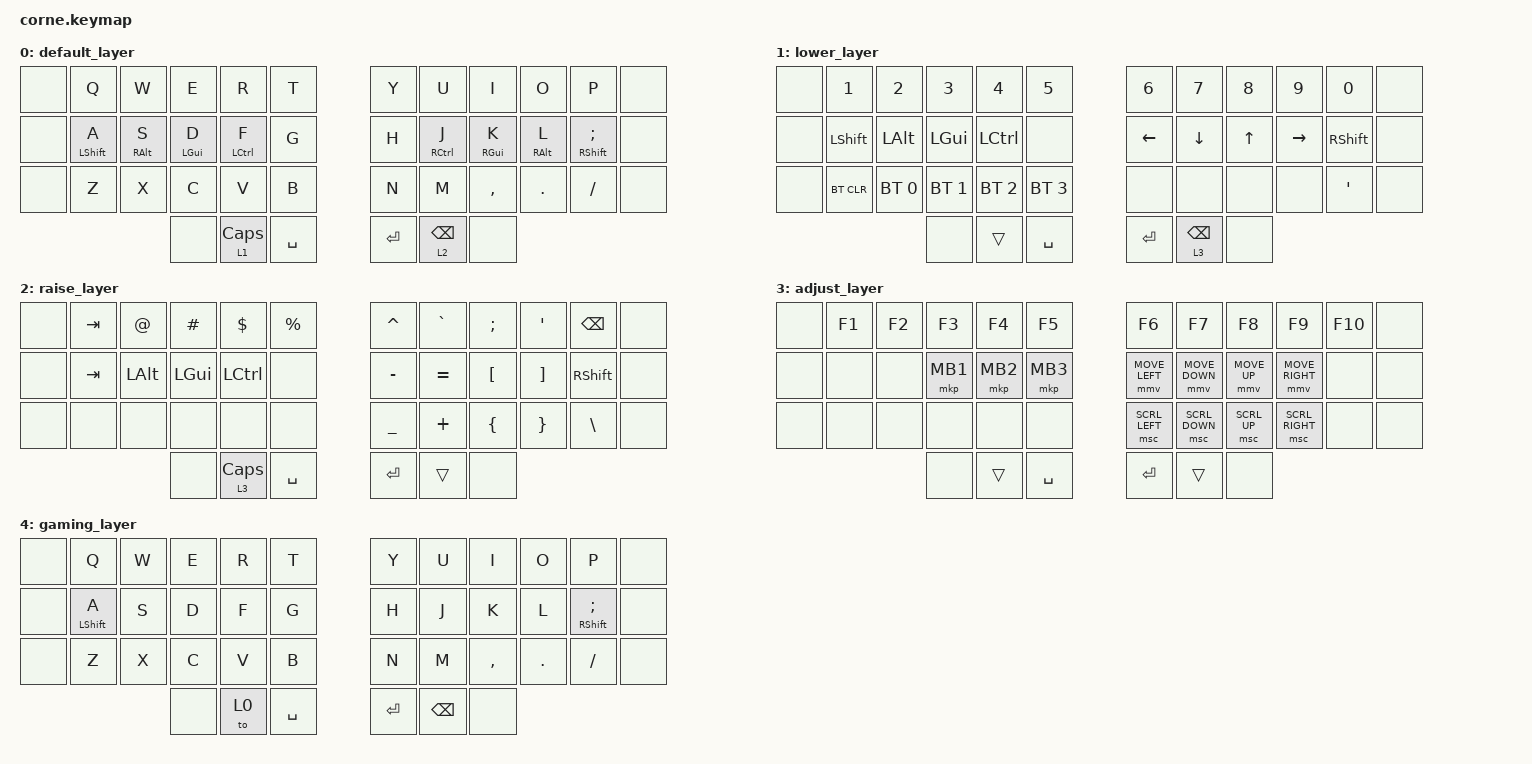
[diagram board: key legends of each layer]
/*
 * Copyright (c) 2020 The ZMK Contributors
 *
 * SPDX-License-Identifier: MIT
 */

#include <behaviors.dtsi>
#include <dt-bindings/zmk/keys.h>
#include <dt-bindings/zmk/bt.h>

#define ZMK_POINTING_DEFAULT_MOVE_VAL 1000  // default: 600
#define ZMK_POINTING_DEFAULT_SCRL_VAL 20    // default: 10
#include <dt-bindings/zmk/pointing.h>

/ {
    behaviors {
        hm: homerow_mods {
            compatible = "zmk,behavior-hold-tap";
            #binding-cells = <2>;
            tapping-term-ms = <200>;
            quick-tap-ms = <175>;
            require-prior-idle-ms = <1>;
            retro-tap;
            flavor = "balanced";
            bindings = <&kp>, <&kp>;
        };
        custom_lt: layer_tap {
            compatible = "zmk,behavior-hold-tap";
            #binding-cells = <2>;
            tapping-term-ms = <200>;
            quick-tap-ms = <175>;
            require-prior-idle-ms = <1>;
            retro-tap;
            flavor = "balanced";
            bindings = <&mo>, <&kp>;
        };
    };

    combos {
        compatible = "zmk,combos";
        combo_gaming {
            timeout-ms = <50>;
            key-positions = <1 5 6 10>;    // Q, T, Y, P keys
            bindings = <&to 4>;
        };
    };

        keymap {
                compatible = "zmk,keymap";

                default_layer {
// -----------------------------------------------------------------------------------------
// |     |  Q  |  W  |  E  |  R  |  T  |   |  Y  |  U   |  I  |  O  |  P  |     |
// |     |  A  |  S  |  D  |  F  |  G  |   |  H  |  J   |  K  |  L  |  ;  |     |
// |     |  Z  |  X  |  C  |  V  |  B  |   |  N  |  M   |  ,  |  .  |  /  |     |
//                   | CAPS| SPC |   | ENT | BSPC |
                        bindings = <
   &none     &kp Q       &kp W      &kp E       &kp R       &kp T         &kp Y    &kp U       &kp I       &kp O      &kp P     &none
   &none     &hm LSHFT A &hm RALT S &hm LGUI D  &hm LCTRL F &kp G         &kp H    &hm RCTRL J &hm RGUI K  &hm RALT L &hm RSHFT SEMI &none
   &none     &kp Z       &kp X      &kp C       &kp V       &kp B         &kp N    &kp M       &kp COMMA   &kp DOT    &kp FSLH  &none
                         &none      &custom_lt 1 CAPS   &kp SPACE                 &kp RET  &custom_lt 2 BSPC  &none
                        >;
                };

                lower_layer {
                        bindings = <
   &none     &kp N1     &kp N2        &kp N3        &kp N4        &kp N5          &kp N6    &kp N7    &kp N8    &kp N9    &kp N0    &none
   &none     &kp LSHFT  &kp LALT      &kp LGUI      &kp LCTRL     &none           &kp LEFT  &kp DOWN  &kp UP    &kp RIGHT &kp RSHFT &none
   &none     &bt BT_CLR &bt BT_SEL 0  &bt BT_SEL 1  &bt BT_SEL 2  &bt BT_SEL 3    &none     &none     &none     &none     &kp SQT   &none
                        &none         &trans         &kp SPACE                     &kp RET   &custom_lt 3 BSPC &none
                        >;
                };

                raise_layer {
                        bindings = <
   &none     &kp TAB   &kp AT    &kp HASH  &kp DLLR  &kp PRCNT    &kp CARET &kp GRAVE &kp SEMI  &kp SQT   &kp BSPC  &none
   &none     &kp TAB   &kp LALT  &kp LGUI  &kp LCTRL &none        &kp MINUS &kp EQUAL &kp LBKT  &kp RBKT  &kp RSHFT &none
   &none     &none     &none     &none     &none     &none        &kp UNDER &kp PLUS  &kp LBRC  &kp RBRC  &kp BSLH  &none
                       &none     &custom_lt 3 CAPS &kp SPACE              &kp RET   &trans    &none
                        >;
                };

                adjust_layer {
                        bindings = <
   &none     &kp F1    &kp F2    &kp F3    &kp F4    &kp F5       &kp F6    &kp F7    &kp F8    &kp F9    &kp F10   &none
   &none     &none     &none     &mkp MB1  &mkp MB2  &mkp MB3     &mmv MOVE_LEFT &mmv MOVE_DOWN &mmv MOVE_UP &mmv MOVE_RIGHT &none &none
   &none     &none     &none     &none     &none     &none        &msc SCRL_LEFT &msc SCRL_DOWN &msc SCRL_UP &msc SCRL_RIGHT &none &none
                       &none     &trans    &kp SPACE               &kp RET   &trans    &none
                        >;
                };

                gaming_layer {
// -----------------------------------------------------------------------------------------
// |     |  Q  |  W  |  E  |  R  |  T  |   |  Y  |  U   |  I  |  O  |  P  |     |
// |     |  A  |  S  |  D  |  F  |  G  |   |  H  |  J   |  K  |  L  |  ;  |     |
// |     |  Z  |  X  |  C  |  V  |  B  |   |  N  |  M   |  ,  |  .  |  /  |     |
//                   |TO(0)| SPC |   | ENT | BSPC |
                        bindings = <
   &none     &kp Q     &kp W      &kp E       &kp R       &kp T         &kp Y    &kp U       &kp I       &kp O      &kp P     &none
   &none     &hm LSHFT A &kp S      &kp D       &kp F       &kp G         &kp H    &kp J       &kp K       &kp L      &hm RSHFT SEMI  &none
   &none     &kp Z     &kp X      &kp C       &kp V       &kp B         &kp N    &kp M       &kp COMMA   &kp DOT    &kp FSLH  &none
                       &none      &to 0        &kp SPACE                 &kp RET  &kp BSPC    &none
                        >;
                };
        };
};
